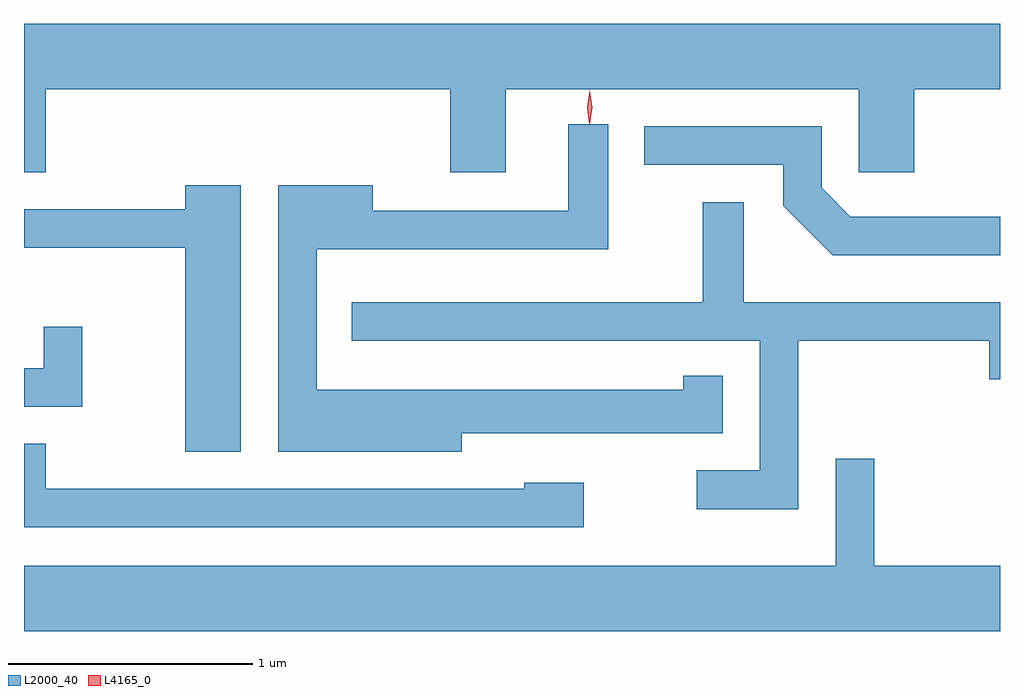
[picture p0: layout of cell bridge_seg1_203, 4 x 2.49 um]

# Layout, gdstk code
import gdstk
lib = gdstk.Library(unit=1e-6, precision=1e-09)
def P(c, l, *ps):  # polygons
    for p in ps: c.add(gdstk.Polygon(p, *l))
L2000_40 = (2000, 40)
L4165_0 = (4165, 0)

bridge_seg1_203 = lib.new_cell('bridge_seg1_203')
P(bridge_seg1_203, L2000_40, [(725.155,941.416),(725.244,941.416),(725.244,941.756),(726.901,941.756),(726.901,941.416),(727.129,941.416),(727.129,941.756),(728.576,941.756),(728.576,941.416),(728.804,941.416),(728.804,941.756),(729.155,941.756),(729.155,942.024),(725.155,942.024)],
  [(726.949,940.346),(728.019,940.346),(728.019,940.583),(727.856,940.583),(727.856,940.524),(726.354,940.524),(726.354,941.101),(727.549,941.101),(727.549,941.613),(727.386,941.613),(727.386,941.259),(726.584,941.259),(726.584,941.364),(726.196,941.364),(726.196,940.271),(726.949,940.271)],
  [(729.155,941.234),(728.542,941.234),(728.424,941.352),(728.424,941.604),(727.698,941.604),(727.698,941.446),(728.266,941.446),(728.266,941.279),(728.469,941.076),(729.155,941.076)],
  [(726.044,941.364),(725.816,941.364),(725.816,941.264),(725.155,941.264),(725.155,941.106),(725.816,941.106),(725.816,940.271),(726.044,940.271)],
  [(728.329,940.726),(729.111,940.726),(729.111,940.568),(729.155,940.568),(729.155,940.884),(728.104,940.884),(728.104,941.293),(727.936,941.293),(727.936,940.884),(726.498,940.884),(726.498,940.726),(728.171,940.726),(728.171,940.194),(727.913,940.194),(727.913,940.036),(728.329,940.036)],
  [(725.394,940.783),(725.236,940.783),(725.236,940.614),(725.155,940.614),(725.155,940.456),(725.394,940.456)],
  [(727.449,940.144),(727.206,940.144),(727.206,940.119),(725.244,940.119),(725.244,940.304),(725.155,940.304),(725.155,939.961),(727.449,939.961)],
  [(729.155,939.804),(728.639,939.804),(728.639,940.243),(728.481,940.243),(728.481,939.804),(725.155,939.804),(725.155,939.536),(729.155,939.536)])
P(bridge_seg1_203, L4165_0, [(727.472,941.616),(727.472,941.617),(727.463,941.682),(727.473,941.746),(727.474,941.747),(727.474,941.746),(727.483,941.682),(727.473,941.617)],
  [(727.472,941.613),(727.472,941.613),(727.463,941.682),(727.473,941.751),(727.473,941.752),(727.474,941.751),(727.483,941.682),(727.473,941.613)])

lib.write_gds('bridge_seg1_203.gds')
